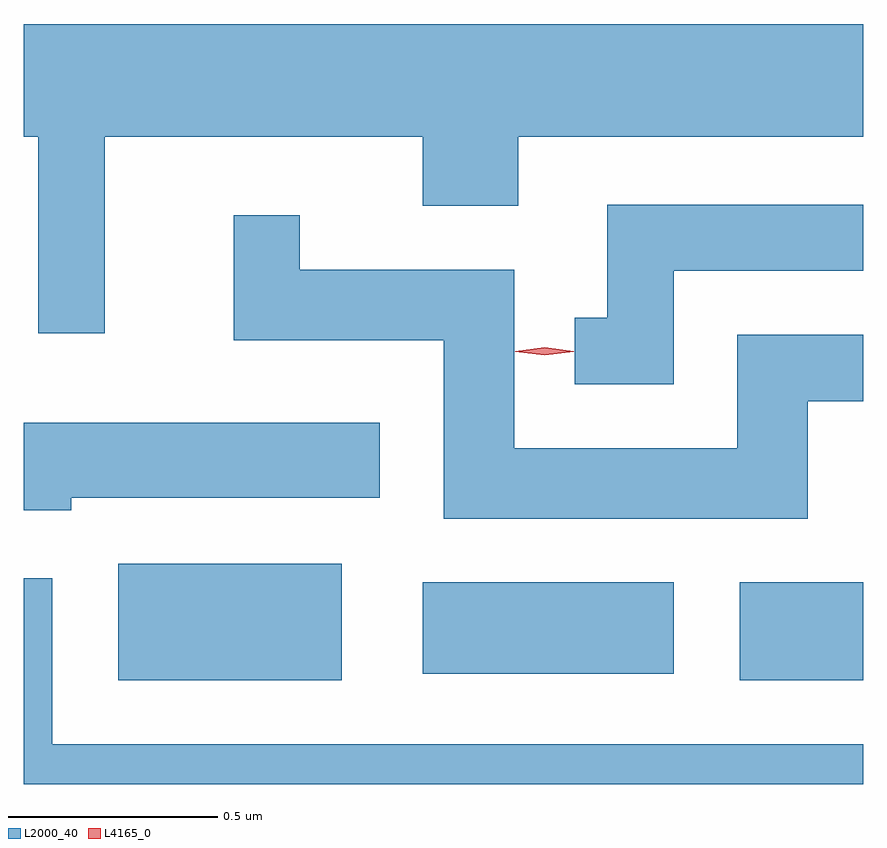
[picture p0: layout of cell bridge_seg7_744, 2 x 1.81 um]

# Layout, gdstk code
import gdstk
lib = gdstk.Library(unit=1e-6, precision=1e-09)
def R(c, l, rs):  # rectangles x0, y0, x1, y1
    for r in rs: c.add(gdstk.rectangle(r[:2], r[2:], *l))
def P(c, l, *ps):  # polygons
    for p in ps: c.add(gdstk.Polygon(p, *l))
L2000_40 = (2000, 40)
L4165_0 = (4165, 0)

bridge_seg7_744 = lib.new_cell('bridge_seg7_744')
R(bridge_seg7_744, L2000_40, [(540.126,1739.661,540.659,1739.939), (541.606,1739.661,541.901,1739.894), (540.851,1739.676,541.449,1739.894)])
P(bridge_seg7_744, L2000_40, [(540.094,1740.956),(540.851,1740.956),(540.851,1740.791),(541.079,1740.791),(541.079,1740.956),(541.901,1740.956),(541.901,1741.224),(539.901,1741.224),(539.901,1740.956),(539.936,1740.956),(539.936,1740.488),(540.094,1740.488)],
  [(541.449,1740.636),(541.901,1740.636),(541.901,1740.794),(541.291,1740.794),(541.291,1740.524),(541.213,1740.524),(541.213,1740.366),(541.449,1740.366)],
  [(541.769,1740.326),(541.901,1740.326),(541.901,1740.484),(541.601,1740.484),(541.601,1740.214),(541.069,1740.214),(541.069,1740.639),(540.559,1740.639),(540.559,1740.768),(540.401,1740.768),(540.401,1740.471),(540.901,1740.471),(540.901,1740.046),(541.769,1740.046)],
  [(540.014,1740.096),(540.749,1740.096),(540.749,1740.274),(539.901,1740.274),(539.901,1740.066),(540.014,1740.066)],
  [(541.901,1739.509),(539.969,1739.509),(539.969,1739.904),(539.901,1739.904),(539.901,1739.414),(541.901,1739.414)])
P(bridge_seg7_744, L4165_0, [(541.142,1740.435),(541.072,1740.444),(541.072,1740.444),(541.072,1740.445),(541.142,1740.454),(541.211,1740.445),(541.211,1740.445),(541.211,1740.444)])

lib.write_gds('bridge_seg7_744.gds')
